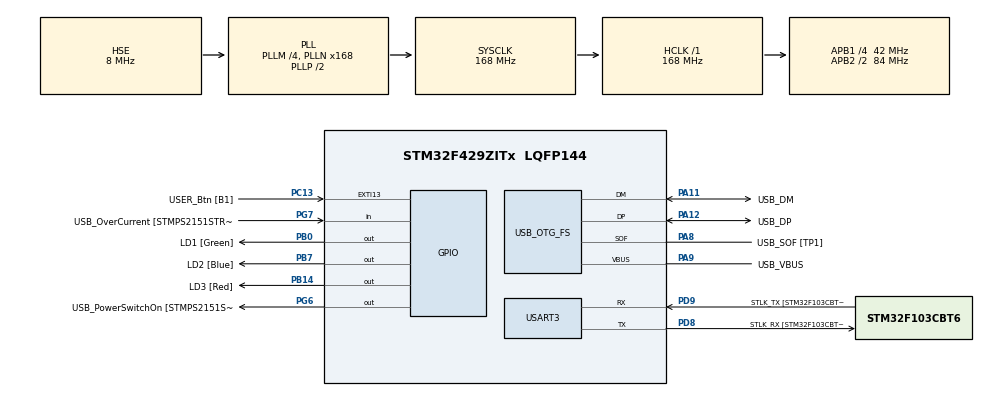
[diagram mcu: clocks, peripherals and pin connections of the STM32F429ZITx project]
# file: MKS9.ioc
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Mcu.Family=STM32F4
Mcu.Name=STM32F429ZITx
Mcu.Package=LQFP144
NVIC.OTG_FS_IRQn=true\:0\:0\:false\:false\:true\:false\:true\:true
NVIC.PriorityGroup=NVIC_PRIORITYGROUP_4
PA1.GPIO_Label=RMII_REF_CLK [LAN8742A-CZ-TR_REFCLK0]
PA1.Signal=ETH_REF_CLK
PA10.GPIO_Label=USB_ID
PA10.Signal=USB_OTG_FS_ID
PA11.GPIO_Label=USB_DM
PA11.Mode=Device_Only
PA11.Signal=USB_OTG_FS_DM
PA12.GPIO_Label=USB_DP
PA12.Mode=Device_Only
PA12.Signal=USB_OTG_FS_DP
PA13.GPIO_Label=TMS
PA13.Mode=Serial_Wire
PA13.Signal=SYS_JTMS-SWDIO
PA14.GPIO_Label=TCK
PA14.Mode=Serial_Wire
PA14.Signal=SYS_JTCK-SWCLK
PA2.GPIO_Label=RMII_MDIO [LAN8742A-CZ-TR_MDIO]
PA2.Signal=ETH_MDIO
PA7.GPIO_Label=RMII_CRS_DV [LAN8742A-CZ-TR_CRS_DV]
PA7.Signal=ETH_CRS_DV
PA8.GPIO_Label=USB_SOF [TP1]
PA8.Mode=Activate_SOF_FS
PA8.Signal=USB_OTG_FS_SOF
PA9.GPIO_Label=USB_VBUS
PA9.Mode=Activate_VBUS
PA9.Signal=USB_OTG_FS_VBUS
PB0.GPIO_Label=LD1 [Green]
PB0.Signal=GPIO_Output
PB13.GPIO_Label=RMII_TXD1 [LAN8742A-CZ-TR_TXD1]
PB13.Signal=ETH_TXD1
PB14.GPIO_Label=LD3 [Red]
PB14.Signal=GPIO_Output
PB7.GPIO_Label=LD2 [Blue]
PB7.Signal=GPIO_Output
PC1.GPIO_Label=RMII_MDC [LAN8742A-CZ-TR_MDC]
PC1.Signal=ETH_MDC
PC13.GPIO_Label=USER_Btn [B1]
PC13.Signal=GPXTI13
PC14/OSC32_IN.Mode=LSE-External-Oscillator
PC14/OSC32_IN.Signal=RCC_OSC32_IN
PC15/OSC32_OUT.Mode=LSE-External-Oscillator
PC15/OSC32_OUT.Signal=RCC_OSC32_OUT
PC4.GPIO_Label=RMII_RXD0 [LAN8742A-CZ-TR_RXD0]
PC4.Signal=ETH_RXD0
PC5.GPIO_Label=RMII_RXD1 [LAN8742A-CZ-TR_RXD1]
PC5.Signal=ETH_RXD1
PD8.GPIO_Label=STLK_RX [STM32F103CBT6_PA3]
PD8.Mode=Asynchronous
PD8.Signal=USART3_TX
PD9.GPIO_Label=STLK_TX [STM32F103CBT6_PA2]
PD9.Mode=Asynchronous
PD9.Signal=USART3_RX
PG11.GPIO_Label=RMII_TX_EN [LAN8742A-CZ-TR_TXEN]
PG11.Signal=ETH_TX_EN
PG13.GPIO_Label=RMII_TXD0 [LAN8742A-CZ-TR_TXD0]
PG13.Signal=ETH_TXD0
PG6.GPIO_Label=USB_PowerSwitchOn [STMPS2151STR_EN]
PG6.Signal=GPIO_Output
PG7.GPIO_Label=USB_OverCurrent [STMPS2151STR_FAULT]
PG7.Signal=GPIO_Input
PH0/OSC_IN.GPIO_Label=MCO [STM32F103CBT6_PA8]
PH0/OSC_IN.Mode=HSE-External-Clock-Source
PH0/OSC_IN.Signal=RCC_OSC_IN
PH1/OSC_OUT.Mode=HSE-External-Clock-Source
PH1/OSC_OUT.Signal=RCC_OSC_OUT
ProjectManager.HeapSize=0x200
ProjectManager.StackSize=0x400
ProjectManager.TargetToolchain=STM32CubeIDE
RCC.48MHZClocksFreq_Value=48000000
RCC.AHBFreq_Value=168000000
RCC.APB1CLKDivider=RCC_HCLK_DIV4
RCC.APB1Freq_Value=42000000
RCC.APB1TimFreq_Value=84000000
RCC.APB2CLKDivider=RCC_HCLK_DIV2
RCC.APB2Freq_Value=84000000
RCC.APB2TimCLKDivider=2
RCC.APB2TimFreq_Value=168000000
RCC.CortexFreq_Value=168000000
RCC.HCLKFreq_Value=168000000
RCC.HSE_VALUE=8000000
RCC.HSI_VALUE=16000000
RCC.PLLM=4
RCC.PLLMUL=RCC_PLL_MUL9
RCC.PLLN=168
RCC.PLLQ=7
RCC.PRESCALERUSB=RCC_USBCLKSOURCE_PLL_DIV1_5
RCC.SYSCLKFreq_VALUE=168000000
RCC.SYSCLKSource=RCC_SYSCLKSOURCE_PLLCLK
RCC.SYSCLKSourceVirtual=RCC_SYSCLKSOURCE_PLLCLK
RCC.USBFreq_Value=48000000
RCC.VCOOutputFreq_Value=336000000
USART3.VirtualMode=VM_ASYNC
USB_DEVICE.CLASS_NAME_FS=HID
USB_DEVICE.VirtualMode-HID_FS=Hid
USB_DEVICE.VirtualModeFS=Hid_FS
USB_OTG_FS.VirtualMode=Device_Only
VP_USB_DEVICE_VS_USB_DEVICE_HID_FS.Mode=HID_FS
board=NUCLEO-F429ZI

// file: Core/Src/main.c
/* USER CODE BEGIN Header */
/**
  ******************************************************************************
  * @file           : main.c
  * @brief          : Main program body
  ******************************************************************************
  * @attention
  *
  * Copyright (c) 2025 STMicroelectronics.
  * All rights reserved.
  *
  * This software is licensed under terms that can be found in the LICENSE file
  * in the root directory of this software component.
  * If no LICENSE file comes with this software, it is provided AS-IS.
  *
  ******************************************************************************
  */
/* USER CODE END Header */
#include "main.h"
#include "usb_device.h"

/* USER CODE BEGIN Includes */
#include <usbd_hid.h>
#include <stdbool.h>
#include <math.h>
/* USER CODE END Includes */

/* USER CODE BEGIN PD */
#define PI 3.14159265358979323846
/* USER CODE END PD */

UART_HandleTypeDef huart3;

/* USER CODE BEGIN PV */
extern USBD_HandleTypeDef hUsbDeviceFS;
/* USER CODE END PV */

void SystemClock_Config(void);
static void MX_GPIO_Init(void);
static void MX_USART3_UART_Init(void);

/* USER CODE BEGIN 0 */

void step(int8_t x, int8_t y, bool btn) {
	  uint8_t buff[4];
	  buff[0] = btn; // press the left button
	  buff[1] = (int8_t)(x); // shift X +10
	  buff[2] = (int8_t)(y); // shift Y -3
	  buff[3] = 0; // no scroll
	  USBD_HID_SendReport(&hUsbDeviceFS, buff, sizeof(buff));
	  HAL_Delay(USBD_HID_GetPollingInterval(&hUsbDeviceFS));
}

void circle(int16_t r, int16_t phi, int16_t ratio) {
	int16_t prev_x = r*ratio;
	int16_t prev_y = 0;

	for (int16_t i = 0; i <= phi; i += 3) {

		int16_t x = (int16_t)(r*ratio * cosf(i*PI/180.0));
		int16_t y = (int16_t)(r * sinf(i*PI/180.0));

		step((int16_t)(x - prev_x), (int16_t)(y - prev_y), 1);

		prev_x = x;
		prev_y = y;
	}
	step(0, 0, false);
}

/* USER CODE END 0 */

int main(void)
{

  /* MCU Configuration--------------------------------------------------------*/

  /* Reset of all peripherals, Initializes the Flash interface and the Systick. */
  HAL_Init();

  /* Configure the system clock */
  SystemClock_Config();

  /* Initialize all configured peripherals */
  MX_GPIO_Init();
  MX_USART3_UART_Init();
  MX_USB_DEVICE_Init();

  /* Infinite loop */
  /* USER CODE BEGIN WHILE */
  while (1)
  {
	  if (HAL_GPIO_ReadPin(USER_Btn_GPIO_Port, USER_Btn_Pin) == GPIO_PIN_SET) {
		  //head
		  circle(100, 360, 1);
		  //eye 1
		  step(-25, -25, false);
		  circle(10, 360, 1);
		  //eye 2
		  step(-50, 0, false);
		  circle(10, 360, 1);
		  //nose
		  step(25, 10, true);
		  step(0, 25, false);
		  //smile
		  step(15, 15, 0);
		  circle(25, 180, 2);
	  }

	  /* USER CODE END WHILE */

  }
}

void SystemClock_Config(void)
{
  RCC_OscInitTypeDef RCC_OscInitStruct = {0};
  RCC_ClkInitTypeDef RCC_ClkInitStruct = {0};

  /** Configure the main internal regulator output voltage
  */
  __HAL_RCC_PWR_CLK_ENABLE();
  __HAL_PWR_VOLTAGESCALING_CONFIG(PWR_REGULATOR_VOLTAGE_SCALE1);

  /** Initializes the RCC Oscillators according to the specified parameters
  * in the RCC_OscInitTypeDef structure.
  */
  RCC_OscInitStruct.OscillatorType = RCC_OSCILLATORTYPE_HSE;
  RCC_OscInitStruct.HSEState = RCC_HSE_BYPASS;
  RCC_OscInitStruct.PLL.PLLState = RCC_PLL_ON;
  RCC_OscInitStruct.PLL.PLLSource = RCC_PLLSOURCE_HSE;
  RCC_OscInitStruct.PLL.PLLM = 4;
  RCC_OscInitStruct.PLL.PLLN = 168;
  RCC_OscInitStruct.PLL.PLLP = RCC_PLLP_DIV2;
  RCC_OscInitStruct.PLL.PLLQ = 7;
  if (HAL_RCC_OscConfig(&RCC_OscInitStruct) != HAL_OK)
  {
    Error_Handler();
  }

  /** Initializes the CPU, AHB and APB buses clocks
  */
  RCC_ClkInitStruct.ClockType = RCC_CLOCKTYPE_HCLK|RCC_CLOCKTYPE_SYSCLK
                              |RCC_CLOCKTYPE_PCLK1|RCC_CLOCKTYPE_PCLK2;
  RCC_ClkInitStruct.SYSCLKSource = RCC_SYSCLKSOURCE_PLLCLK;
  RCC_ClkInitStruct.AHBCLKDivider = RCC_SYSCLK_DIV1;
  RCC_ClkInitStruct.APB1CLKDivider = RCC_HCLK_DIV4;
  RCC_ClkInitStruct.APB2CLKDivider = RCC_HCLK_DIV2;

  if (HAL_RCC_ClockConfig(&RCC_ClkInitStruct, FLASH_LATENCY_5) != HAL_OK)
  {
    Error_Handler();
  }
}

static void MX_USART3_UART_Init(void)
{

  huart3.Instance = USART3;
  huart3.Init.BaudRate = 115200;
  huart3.Init.WordLength = UART_WORDLENGTH_8B;
  huart3.Init.StopBits = UART_STOPBITS_1;
  huart3.Init.Parity = UART_PARITY_NONE;
  huart3.Init.Mode = UART_MODE_TX_RX;
  huart3.Init.HwFlowCtl = UART_HWCONTROL_NONE;
  huart3.Init.OverSampling = UART_OVERSAMPLING_16;
  if (HAL_UART_Init(&huart3) != HAL_OK)
  {
    Error_Handler();
  }

}

static void MX_GPIO_Init(void)
{
  GPIO_InitTypeDef GPIO_InitStruct = {0};

  /* GPIO Ports Clock Enable */
  __HAL_RCC_GPIOC_CLK_ENABLE();
  __HAL_RCC_GPIOH_CLK_ENABLE();
  __HAL_RCC_GPIOA_CLK_ENABLE();
  __HAL_RCC_GPIOB_CLK_ENABLE();
  __HAL_RCC_GPIOD_CLK_ENABLE();
  __HAL_RCC_GPIOG_CLK_ENABLE();

  /*Configure GPIO pin Output Level */
  HAL_GPIO_WritePin(GPIOB, LD1_Pin|LD3_Pin|LD2_Pin, GPIO_PIN_RESET);

  /*Configure GPIO pin Output Level */
  HAL_GPIO_WritePin(USB_PowerSwitchOn_GPIO_Port, USB_PowerSwitchOn_Pin, GPIO_PIN_RESET);

  /*Configure GPIO pin : USER_Btn_Pin */
  GPIO_InitStruct.Pin = USER_Btn_Pin;
  GPIO_InitStruct.Mode = GPIO_MODE_IT_RISING;
  GPIO_InitStruct.Pull = GPIO_NOPULL;
  HAL_GPIO_Init(USER_Btn_GPIO_Port, &GPIO_InitStruct);

  /*Configure GPIO pins : RMII_MDC_Pin RMII_RXD0_Pin RMII_RXD1_Pin */
  GPIO_InitStruct.Pin = RMII_MDC_Pin|RMII_RXD0_Pin|RMII_RXD1_Pin;
  GPIO_InitStruct.Mode = GPIO_MODE_AF_PP;
  GPIO_InitStruct.Pull = GPIO_NOPULL;
  GPIO_InitStruct.Speed = GPIO_SPEED_FREQ_VERY_HIGH;
  GPIO_InitStruct.Alternate = GPIO_AF11_ETH;
  HAL_GPIO_Init(GPIOC, &GPIO_InitStruct);

  /*Configure GPIO pins : RMII_REF_CLK_Pin RMII_MDIO_Pin RMII_CRS_DV_Pin */
  GPIO_InitStruct.Pin = RMII_REF_CLK_Pin|RMII_MDIO_Pin|RMII_CRS_DV_Pin;
  GPIO_InitStruct.Mode = GPIO_MODE_AF_PP;
  GPIO_InitStruct.Pull = GPIO_NOPULL;
  GPIO_InitStruct.Speed = GPIO_SPEED_FREQ_VERY_HIGH;
  GPIO_InitStruct.Alternate = GPIO_AF11_ETH;
  HAL_GPIO_Init(GPIOA, &GPIO_InitStruct);

  /*Configure GPIO pins : LD1_Pin LD3_Pin LD2_Pin */
  GPIO_InitStruct.Pin = LD1_Pin|LD3_Pin|LD2_Pin;
  GPIO_InitStruct.Mode = GPIO_MODE_OUTPUT_PP;
  GPIO_InitStruct.Pull = GPIO_NOPULL;
  GPIO_InitStruct.Speed = GPIO_SPEED_FREQ_LOW;
  HAL_GPIO_Init(GPIOB, &GPIO_InitStruct);

  /*Configure GPIO pin : RMII_TXD1_Pin */
  GPIO_InitStruct.Pin = RMII_TXD1_Pin;
  GPIO_InitStruct.Mode = GPIO_MODE_AF_PP;
  GPIO_InitStruct.Pull = GPIO_NOPULL;
  GPIO_InitStruct.Speed = GPIO_SPEED_FREQ_VERY_HIGH;
  GPIO_InitStruct.Alternate = GPIO_AF11_ETH;
  HAL_GPIO_Init(RMII_TXD1_GPIO_Port, &GPIO_InitStruct);

  /*Configure GPIO pin : USB_PowerSwitchOn_Pin */
  GPIO_InitStruct.Pin = USB_PowerSwitchOn_Pin;
  GPIO_InitStruct.Mode = GPIO_MODE_OUTPUT_PP;
  GPIO_InitStruct.Pull = GPIO_NOPULL;
  GPIO_InitStruct.Speed = GPIO_SPEED_FREQ_LOW;
  HAL_GPIO_Init(USB_PowerSwitchOn_GPIO_Port, &GPIO_InitStruct);

  /*Configure GPIO pin : USB_OverCurrent_Pin */
  GPIO_InitStruct.Pin = USB_OverCurrent_Pin;
  GPIO_InitStruct.Mode = GPIO_MODE_INPUT;
  GPIO_InitStruct.Pull = GPIO_NOPULL;
  HAL_GPIO_Init(USB_OverCurrent_GPIO_Port, &GPIO_InitStruct);

  /*Configure GPIO pins : RMII_TX_EN_Pin RMII_TXD0_Pin */
  GPIO_InitStruct.Pin = RMII_TX_EN_Pin|RMII_TXD0_Pin;
  GPIO_InitStruct.Mode = GPIO_MODE_AF_PP;
  GPIO_InitStruct.Pull = GPIO_NOPULL;
  GPIO_InitStruct.Speed = GPIO_SPEED_FREQ_VERY_HIGH;
  GPIO_InitStruct.Alternate = GPIO_AF11_ETH;
  HAL_GPIO_Init(GPIOG, &GPIO_InitStruct);

}

void Error_Handler(void)
{
  __disable_irq();
  while (1)
  {
  }
}
